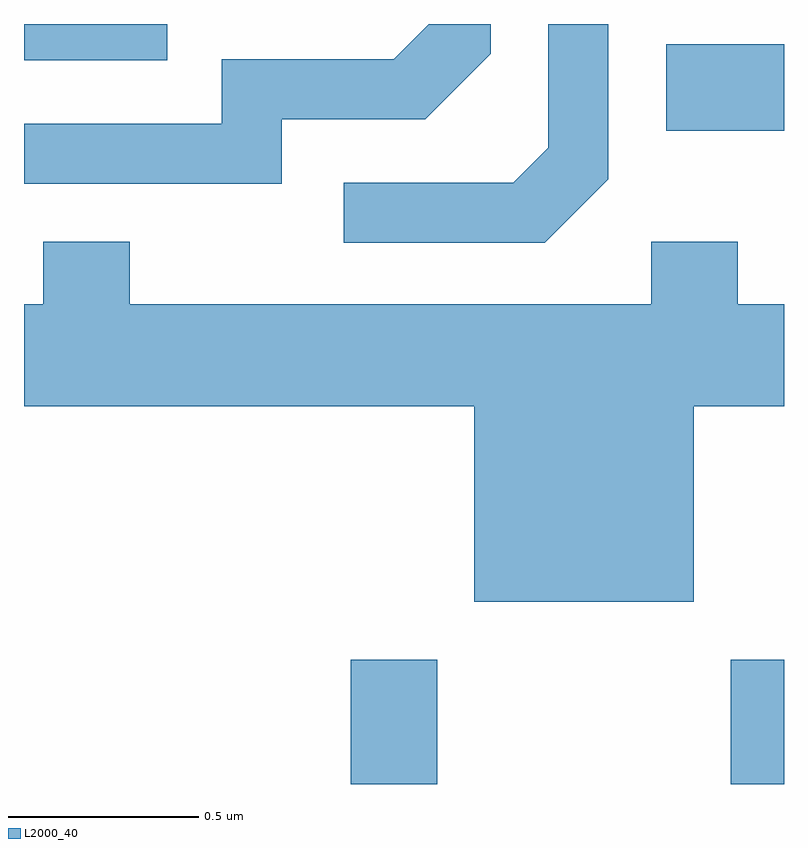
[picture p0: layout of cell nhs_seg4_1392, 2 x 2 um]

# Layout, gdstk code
import gdstk
lib = gdstk.Library(unit=1e-6, precision=1e-09)
def R(c, l, rs):  # rectangles x0, y0, x1, y1
    for r in rs: c.add(gdstk.rectangle(r[:2], r[2:], *l))
def P(c, l, *ps):  # polygons
    for p in ps: c.add(gdstk.Polygon(p, *l))
L2000_40 = (2000, 40)

nhs_seg4_1392 = lib.new_cell('nhs_seg4_1392')
R(nhs_seg4_1392, L2000_40, [(196.471,1275.982,196.699,1276.309), (197.471,1275.982,197.611,1276.309), (197.301,1277.701,197.611,1277.929), (195.611,1277.886,195.988,1277.982)])
P(nhs_seg4_1392, L2000_40, [(197.149,1277.574),(197.149,1277.982),(196.991,1277.982),(196.991,1277.657),(196.899,1277.564),(196.453,1277.564),(196.453,1277.406),(196.982,1277.406)],
  [(196.289,1277.731),(196.667,1277.731),(196.839,1277.904),(196.839,1277.982),(196.676,1277.982),(196.584,1277.889),(196.131,1277.889),(196.131,1277.719),(195.611,1277.719),(195.611,1277.561),(196.289,1277.561)],
  [(197.374,1276.976),(197.611,1276.976),(197.611,1277.244),(197.489,1277.244),(197.489,1277.409),(197.261,1277.409),(197.261,1277.244),(195.889,1277.244),(195.889,1277.409),(195.661,1277.409),(195.661,1277.244),(195.611,1277.244),(195.611,1276.976),(196.796,1276.976),(196.796,1276.461),(197.374,1276.461)])

lib.write_gds('nhs_seg4_1392.gds')
